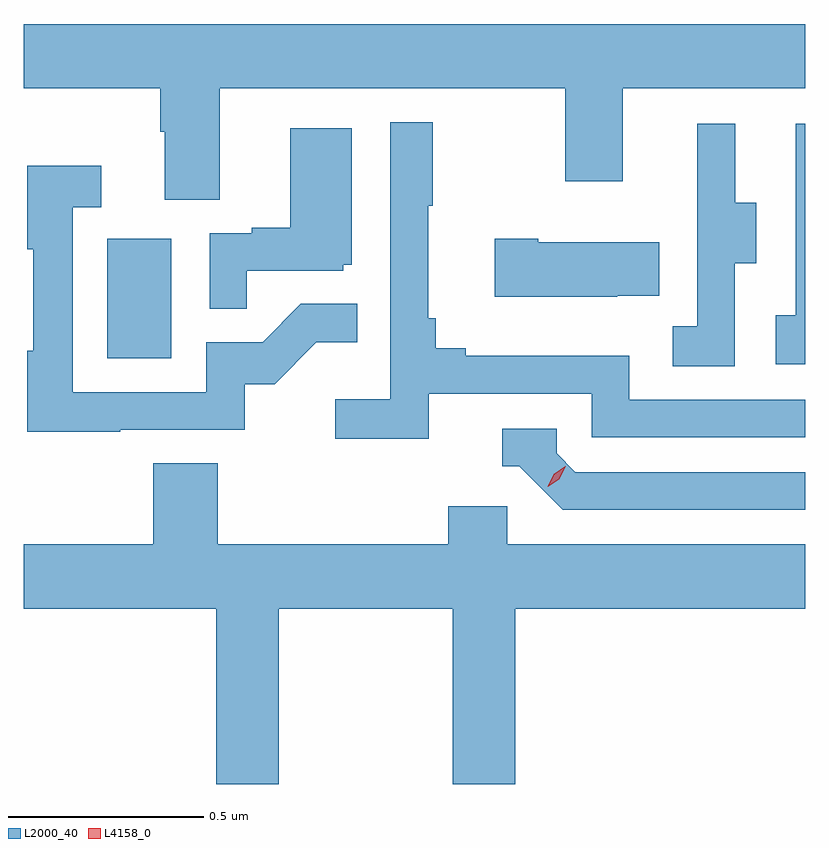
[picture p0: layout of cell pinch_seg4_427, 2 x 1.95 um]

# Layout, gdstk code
import gdstk
lib = gdstk.Library(unit=1e-6, precision=1e-09)
def R(c, l, rs):  # rectangles x0, y0, x1, y1
    for r in rs: c.add(gdstk.rectangle(r[:2], r[2:], *l))
def P(c, l, *ps):  # polygons
    for p in ps: c.add(gdstk.Polygon(p, *l))
L2000_40 = (2000, 40)
L4158_0 = (4158, 0)

pinch_seg4_427 = lib.new_cell('pinch_seg4_427')
R(pinch_seg4_427, L2000_40, [(992.714,776.148,992.878,776.455)])
P(pinch_seg4_427, L2000_40, [(993.001,776.84),(993.886,776.84),(993.886,776.601),(994.033,776.601),(994.033,776.84),(994.5,776.84),(994.5,777.004),(992.5,777.004),(992.5,776.84),(992.849,776.84),(992.849,776.728),(992.861,776.728),(992.861,776.554),(993.001,776.554)],
  [(993.536,776.058),(993.954,776.058),(993.954,775.947),(994.5,775.947),(994.5,776.043),(994.05,776.043),(994.05,776.155),(993.631,776.155),(993.631,776.174),(993.554,776.174),(993.554,776.251),(993.535,776.251),(993.535,776.539),(993.547,776.539),(993.547,776.752),(993.438,776.752),(993.438,776.044),(993.297,776.044),(993.297,775.942),(993.536,775.942)],
  [(994.5,776.749),(994.476,776.749),(994.476,776.258),(994.425,776.258),(994.425,776.133),(994.5,776.133)],
  [(994.32,776.392),(994.375,776.392),(994.375,776.547),(994.321,776.547),(994.321,776.749),(994.223,776.749),(994.223,776.535),(994.224,776.535),(994.224,776.231),(994.161,776.231),(994.161,776.128),(994.32,776.128)],
  [(993.071,776.373),(993.318,776.373),(993.318,776.388),(993.34,776.388),(993.34,776.737),(993.182,776.737),(993.182,776.482),(993.083,776.482),(993.083,776.469),(992.976,776.469),(992.976,776.275),(993.071,776.275)],
  [(992.747,775.965),(993.066,775.965),(993.066,776.082),(993.142,776.082),(993.249,776.189),(993.353,776.189),(993.353,776.288),(993.209,776.288),(993.111,776.19),(992.967,776.19),(992.967,776.061),(992.625,776.061),(992.625,776.535),(992.698,776.535),(992.698,776.641),(992.509,776.641),(992.509,776.428),(992.524,776.428),(992.524,776.168),(992.509,776.168),(992.509,775.96),(992.747,775.96)],
  [(994.019,776.309),(994.127,776.309),(994.127,776.446),(993.817,776.446),(993.817,776.454),(993.705,776.454),(993.705,776.306),(994.019,776.306)],
  [(994.5,775.857),(993.912,775.857),(993.864,775.905),(993.864,775.968),(993.725,775.968),(993.725,775.872),(993.768,775.872),(993.879,775.761),(994.5,775.761)],
  [(993.153,775.508),(993.598,775.508),(993.598,775.059),(993.758,775.059),(993.758,775.508),(994.5,775.508),(994.5,775.672),(993.738,775.672),(993.738,775.77),(993.587,775.77),(993.587,775.672),(992.996,775.672),(992.996,775.88),(992.831,775.88),(992.831,775.672),(992.5,775.672),(992.5,775.508),(992.993,775.508),(992.993,775.059),(993.153,775.059)])
P(pinch_seg4_427, L4158_0, [(993.841,775.82),(993.841,775.82),(993.856,775.852),(993.886,775.872),(993.887,775.872),(993.887,775.872),(993.871,775.839),(993.841,775.82)])

lib.write_gds('pinch_seg4_427.gds')
